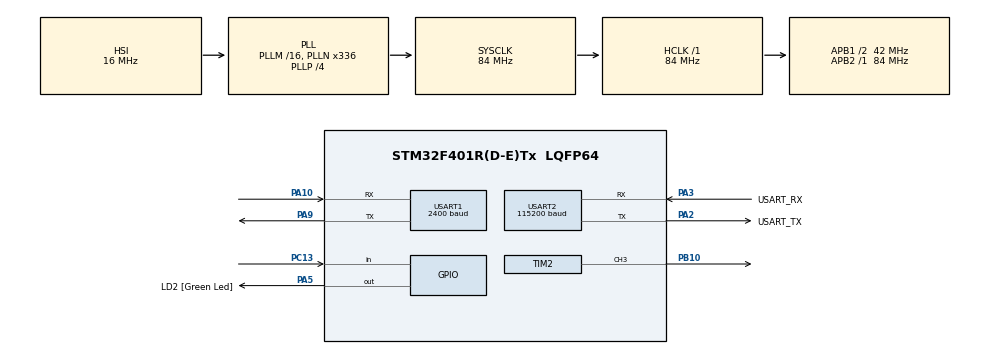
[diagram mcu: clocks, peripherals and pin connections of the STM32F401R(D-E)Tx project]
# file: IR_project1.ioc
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Mcu.Family=STM32F4
Mcu.Name=STM32F401R(D-E)Tx
Mcu.Package=LQFP64
NVIC.PriorityGroup=NVIC_PRIORITYGROUP_0
NVIC.TIM3_IRQn=true\:0\:0\:false\:false\:true\:true\:true\:true
NVIC.USART1_IRQn=true\:0\:0\:false\:false\:true\:true\:true\:true
PA10.Mode=Asynchronous
PA10.Signal=USART1_RX
PA13.GPIO_Label=TMS
PA13.Mode=Serial_Wire
PA13.Signal=SYS_JTMS-SWDIO
PA14.GPIO_Label=TCK
PA14.Mode=Serial_Wire
PA14.Signal=SYS_JTCK-SWCLK
PA2.GPIO_Label=USART_TX
PA2.GPIO_Mode=GPIO_MODE_AF_PP
PA2.GPIO_PuPd=GPIO_NOPULL
PA2.GPIO_Speed=GPIO_SPEED_FREQ_LOW
PA2.Mode=Asynchronous
PA2.Signal=USART2_TX
PA3.GPIO_Label=USART_RX
PA3.GPIO_Mode=GPIO_MODE_AF_PP
PA3.GPIO_PuPd=GPIO_NOPULL
PA3.GPIO_Speed=GPIO_SPEED_FREQ_LOW
PA3.Mode=Asynchronous
PA3.Signal=USART2_RX
PA5.GPIO_Label=LD2 [Green Led]
PA5.GPIO_Mode=GPIO_MODE_OUTPUT_PP
PA5.GPIO_PuPd=GPIO_NOPULL
PA5.GPIO_Speed=GPIO_SPEED_FREQ_LOW
PA5.Signal=GPIO_Output
PA9.Mode=Asynchronous
PA9.Signal=USART1_TX
PB10.Signal=S_TIM2_CH3
PB3.GPIO_Label=SWO
PB3.Signal=SYS_JTDO-SWO
PC13-ANTI_TAMP.Signal=GPIO_Input
PC14-OSC32_IN.Mode=LSE-External-Oscillator
PC14-OSC32_IN.Signal=RCC_OSC32_IN
PC15-OSC32_OUT.Mode=LSE-External-Oscillator
PC15-OSC32_OUT.Signal=RCC_OSC32_OUT
PH0\ -\ OSC_IN.Mode=HSE-External-Clock-Source
PH0\ -\ OSC_IN.Signal=RCC_OSC_IN
PH1\ -\ OSC_OUT.Mode=HSE-External-Clock-Source
PH1\ -\ OSC_OUT.Signal=RCC_OSC_OUT
ProjectManager.HeapSize=0x200
ProjectManager.StackSize=0x400
ProjectManager.TargetToolchain=STM32CubeIDE
RCC.48MHZClocksFreq_Value=48000000
RCC.AHBFreq_Value=84000000
RCC.APB1CLKDivider=RCC_HCLK_DIV2
RCC.APB1Freq_Value=42000000
RCC.APB1TimFreq_Value=84000000
RCC.APB2Freq_Value=84000000
RCC.APB2TimFreq_Value=84000000
RCC.CortexFreq_Value=84000000
RCC.HCLKFreq_Value=84000000
RCC.HSE_VALUE=8000000
RCC.HSI_VALUE=16000000
RCC.PLLN=336
RCC.PLLP=RCC_PLLP_DIV4
RCC.PLLQ=7
RCC.SYSCLKFreq_VALUE=84000000
RCC.SYSCLKSource=RCC_SYSCLKSOURCE_PLLCLK
RCC.VCOOutputFreq_Value=336000000
SH.S_TIM2_CH3.0=TIM2_CH3,PWM Generation3 CH3
TIM2.AutoReloadPreload=TIM_AUTORELOAD_PRELOAD_ENABLE
TIM2.Channel-PWM\ Generation3\ CH3=TIM_CHANNEL_3
TIM2.Period=2210-1
TIM2.Prescaler=0
TIM2.Pulse-PWM\ Generation3\ CH3=1105
TIM3.AutoReloadPreload=TIM_AUTORELOAD_PRELOAD_ENABLE
TIM3.Period=35000-1
TIM3.Prescaler=0
USART1.BaudRate=2400
USART1.Mode=MODE_TX_RX
USART1.VirtualMode=VM_ASYNC
USART2.BaudRate=115200
USART2.Mode=MODE_TX_RX
USART2.VirtualMode=VM_ASYNC
VP_TIM2_VS_ClockSourceINT.Mode=Internal
VP_TIM3_VS_ClockSourceINT.Mode=Internal
board=NUCLEO-F401RE

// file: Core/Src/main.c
/* USER CODE BEGIN Header */
/**
  ******************************************************************************
  * @file           : main.c
  * @brief          : Main program body
  ******************************************************************************
  * @attention
  *
  * Copyright (c) 2022 STMicroelectronics.
  * All rights reserved.
  *
  * This software is licensed under terms that can be found in the LICENSE file
  * in the root directory of this software component.
  * If no LICENSE file comes with this software, it is provided AS-IS.
  *
  ******************************************************************************
  */
/* USER CODE END Header */
#include "main.h"

/* USER CODE BEGIN Includes */
#include <string.h>
#include <stdio.h>
/* USER CODE END Includes */

TIM_HandleTypeDef htim2;
TIM_HandleTypeDef htim3;

UART_HandleTypeDef huart1;
UART_HandleTypeDef huart2;

/* USER CODE BEGIN PV */
int nextBitFlag = 0;
uint8_t receivedByte;
int length;
int count = 0;
/* USER CODE END PV */

void SystemClock_Config(void);
static void MX_GPIO_Init(void);
static void MX_USART2_UART_Init(void);
static void MX_TIM2_Init(void);
static void MX_TIM3_Init(void);
static void MX_USART1_UART_Init(void);

/* USER CODE BEGIN 0 */
void sendByte(char byte);
void sendString(char *string);
/* USER CODE END 0 */

int main(void)
{

  /* MCU Configuration--------------------------------------------------------*/

  /* Reset of all peripherals, Initializes the Flash interface and the Systick. */
  HAL_Init();

  /* Configure the system clock */
  SystemClock_Config();

  /* Initialize all configured peripherals */
  MX_GPIO_Init();
  MX_USART2_UART_Init();
  MX_TIM2_Init();
  MX_TIM3_Init();
  MX_USART1_UART_Init();
  /* USER CODE BEGIN 2 */
  HAL_TIM_Base_Start(&htim2);
  HAL_UART_Receive_IT(&huart1, &receivedByte, 1);
  /* USER CODE END 2 */

  /* Infinite loop */
  while (1)
  {

    /* USER CODE BEGIN 3 */
	if(HAL_GPIO_ReadPin(GPIOC, GPIO_PIN_13) == GPIO_PIN_RESET){
		sendString("abcdefghi");
	}
	HAL_Delay(1000);
  }
  /* USER CODE END 3 */
}

void SystemClock_Config(void)
{
  RCC_OscInitTypeDef RCC_OscInitStruct = {0};
  RCC_ClkInitTypeDef RCC_ClkInitStruct = {0};

  /** Configure the main internal regulator output voltage
  */
  __HAL_RCC_PWR_CLK_ENABLE();
  __HAL_PWR_VOLTAGESCALING_CONFIG(PWR_REGULATOR_VOLTAGE_SCALE2);

  /** Initializes the RCC Oscillators according to the specified parameters
  * in the RCC_OscInitTypeDef structure.
  */
  RCC_OscInitStruct.OscillatorType = RCC_OSCILLATORTYPE_HSI;
  RCC_OscInitStruct.HSIState = RCC_HSI_ON;
  RCC_OscInitStruct.HSICalibrationValue = RCC_HSICALIBRATION_DEFAULT;
  RCC_OscInitStruct.PLL.PLLState = RCC_PLL_ON;
  RCC_OscInitStruct.PLL.PLLSource = RCC_PLLSOURCE_HSI;
  RCC_OscInitStruct.PLL.PLLM = 16;
  RCC_OscInitStruct.PLL.PLLN = 336;
  RCC_OscInitStruct.PLL.PLLP = RCC_PLLP_DIV4;
  RCC_OscInitStruct.PLL.PLLQ = 7;
  if (HAL_RCC_OscConfig(&RCC_OscInitStruct) != HAL_OK)
  {
    Error_Handler();
  }

  /** Initializes the CPU, AHB and APB buses clocks
  */
  RCC_ClkInitStruct.ClockType = RCC_CLOCKTYPE_HCLK|RCC_CLOCKTYPE_SYSCLK
                              |RCC_CLOCKTYPE_PCLK1|RCC_CLOCKTYPE_PCLK2;
  RCC_ClkInitStruct.SYSCLKSource = RCC_SYSCLKSOURCE_PLLCLK;
  RCC_ClkInitStruct.AHBCLKDivider = RCC_SYSCLK_DIV1;
  RCC_ClkInitStruct.APB1CLKDivider = RCC_HCLK_DIV2;
  RCC_ClkInitStruct.APB2CLKDivider = RCC_HCLK_DIV1;

  if (HAL_RCC_ClockConfig(&RCC_ClkInitStruct, FLASH_LATENCY_2) != HAL_OK)
  {
    Error_Handler();
  }
}

static void MX_TIM2_Init(void)
{

  TIM_ClockConfigTypeDef sClockSourceConfig = {0};
  TIM_MasterConfigTypeDef sMasterConfig = {0};
  TIM_OC_InitTypeDef sConfigOC = {0};

  htim2.Instance = TIM2;
  htim2.Init.Prescaler = 0;
  htim2.Init.CounterMode = TIM_COUNTERMODE_UP;
  htim2.Init.Period = 2210-1;
  htim2.Init.ClockDivision = TIM_CLOCKDIVISION_DIV1;
  htim2.Init.AutoReloadPreload = TIM_AUTORELOAD_PRELOAD_ENABLE;
  if (HAL_TIM_Base_Init(&htim2) != HAL_OK)
  {
    Error_Handler();
  }
  sClockSourceConfig.ClockSource = TIM_CLOCKSOURCE_INTERNAL;
  if (HAL_TIM_ConfigClockSource(&htim2, &sClockSourceConfig) != HAL_OK)
  {
    Error_Handler();
  }
  if (HAL_TIM_PWM_Init(&htim2) != HAL_OK)
  {
    Error_Handler();
  }
  sMasterConfig.MasterOutputTrigger = TIM_TRGO_RESET;
  sMasterConfig.MasterSlaveMode = TIM_MASTERSLAVEMODE_DISABLE;
  if (HAL_TIMEx_MasterConfigSynchronization(&htim2, &sMasterConfig) != HAL_OK)
  {
    Error_Handler();
  }
  sConfigOC.OCMode = TIM_OCMODE_PWM1;
  sConfigOC.Pulse = 1105;
  sConfigOC.OCPolarity = TIM_OCPOLARITY_HIGH;
  sConfigOC.OCFastMode = TIM_OCFAST_DISABLE;
  if (HAL_TIM_PWM_ConfigChannel(&htim2, &sConfigOC, TIM_CHANNEL_3) != HAL_OK)
  {
    Error_Handler();
  }
  HAL_TIM_MspPostInit(&htim2);

}

static void MX_TIM3_Init(void)
{

  TIM_ClockConfigTypeDef sClockSourceConfig = {0};
  TIM_MasterConfigTypeDef sMasterConfig = {0};

  htim3.Instance = TIM3;
  htim3.Init.Prescaler = 0;
  htim3.Init.CounterMode = TIM_COUNTERMODE_UP;
  htim3.Init.Period = 35000-1;
  htim3.Init.ClockDivision = TIM_CLOCKDIVISION_DIV1;
  htim3.Init.AutoReloadPreload = TIM_AUTORELOAD_PRELOAD_ENABLE;
  if (HAL_TIM_Base_Init(&htim3) != HAL_OK)
  {
    Error_Handler();
  }
  sClockSourceConfig.ClockSource = TIM_CLOCKSOURCE_INTERNAL;
  if (HAL_TIM_ConfigClockSource(&htim3, &sClockSourceConfig) != HAL_OK)
  {
    Error_Handler();
  }
  sMasterConfig.MasterOutputTrigger = TIM_TRGO_RESET;
  sMasterConfig.MasterSlaveMode = TIM_MASTERSLAVEMODE_DISABLE;
  if (HAL_TIMEx_MasterConfigSynchronization(&htim3, &sMasterConfig) != HAL_OK)
  {
    Error_Handler();
  }

}

static void MX_USART1_UART_Init(void)
{

  huart1.Instance = USART1;
  huart1.Init.BaudRate = 2400;
  huart1.Init.WordLength = UART_WORDLENGTH_8B;
  huart1.Init.StopBits = UART_STOPBITS_1;
  huart1.Init.Parity = UART_PARITY_NONE;
  huart1.Init.Mode = UART_MODE_TX_RX;
  huart1.Init.HwFlowCtl = UART_HWCONTROL_NONE;
  huart1.Init.OverSampling = UART_OVERSAMPLING_16;
  if (HAL_UART_Init(&huart1) != HAL_OK)
  {
    Error_Handler();
  }

}

static void MX_USART2_UART_Init(void)
{

  huart2.Instance = USART2;
  huart2.Init.BaudRate = 115200;
  huart2.Init.WordLength = UART_WORDLENGTH_8B;
  huart2.Init.StopBits = UART_STOPBITS_1;
  huart2.Init.Parity = UART_PARITY_NONE;
  huart2.Init.Mode = UART_MODE_TX_RX;
  huart2.Init.HwFlowCtl = UART_HWCONTROL_NONE;
  huart2.Init.OverSampling = UART_OVERSAMPLING_16;
  if (HAL_UART_Init(&huart2) != HAL_OK)
  {
    Error_Handler();
  }

}

static void MX_GPIO_Init(void)
{
  GPIO_InitTypeDef GPIO_InitStruct = {0};

  /* GPIO Ports Clock Enable */
  __HAL_RCC_GPIOC_CLK_ENABLE();
  __HAL_RCC_GPIOH_CLK_ENABLE();
  __HAL_RCC_GPIOA_CLK_ENABLE();
  __HAL_RCC_GPIOB_CLK_ENABLE();

  /*Configure GPIO pin Output Level */
  HAL_GPIO_WritePin(LD2_GPIO_Port, LD2_Pin, GPIO_PIN_RESET);

  /*Configure GPIO pin : PC13 */
  GPIO_InitStruct.Pin = GPIO_PIN_13;
  GPIO_InitStruct.Mode = GPIO_MODE_INPUT;
  GPIO_InitStruct.Pull = GPIO_NOPULL;
  HAL_GPIO_Init(GPIOC, &GPIO_InitStruct);

  /*Configure GPIO pin : LD2_Pin */
  GPIO_InitStruct.Pin = LD2_Pin;
  GPIO_InitStruct.Mode = GPIO_MODE_OUTPUT_PP;
  GPIO_InitStruct.Pull = GPIO_NOPULL;
  GPIO_InitStruct.Speed = GPIO_SPEED_FREQ_LOW;
  HAL_GPIO_Init(LD2_GPIO_Port, &GPIO_InitStruct);

}

/* USER CODE BEGIN 4 */
void sendByte(char byte){
	HAL_TIM_Base_Start_IT(&htim3);
	HAL_TIM_PWM_Start(&htim2, TIM_CHANNEL_3); //send start bit
	nextBitFlag = 0;
	while(nextBitFlag == 0){
		//wait
	}

	for(int bitCount = 0; bitCount < 8; bitCount++){
		if((byte & (0x01 << bitCount)) == 0){
			HAL_TIM_PWM_Start(&htim2, TIM_CHANNEL_3); //send 0
		}else{
			HAL_TIM_PWM_Stop(&htim2, TIM_CHANNEL_3); //send 1
		}
		nextBitFlag = 0;
		while(nextBitFlag == 0){
			//wait
		}
	}

	HAL_TIM_PWM_Stop(&htim2, TIM_CHANNEL_3); //send stop bit
	nextBitFlag = 0;
	while(nextBitFlag == 0){
		//wait
	}
	HAL_TIM_Base_Stop_IT(&htim3);
	nextBitFlag = 0;
}

void sendString(char *string){
	length = strlen(string);
	count = 0;
	for(int i = 0; i < length; i++){
		sendByte(string[i]);
	}
}

void HAL_TIM_PeriodElapsedCallback(TIM_HandleTypeDef *htim){
	if(htim == &htim3){
		nextBitFlag = 1;
	}
};

void HAL_UART_RxCpltCallback(UART_HandleTypeDef *huart){
	HAL_UART_Receive_IT(&huart1, &receivedByte, 1);
	char string[16];
	snprintf(string, 16, "%c", receivedByte);
	HAL_UART_Transmit(&huart2, string, strlen(string), 50);
	if(++count == length){
		HAL_UART_Transmit(&huart2, "\r\n", 2, 50);
		count = 0;
	}
}
/* USER CODE END 4 */

void Error_Handler(void)
{
  __disable_irq();
  while (1)
  {
  }
}
